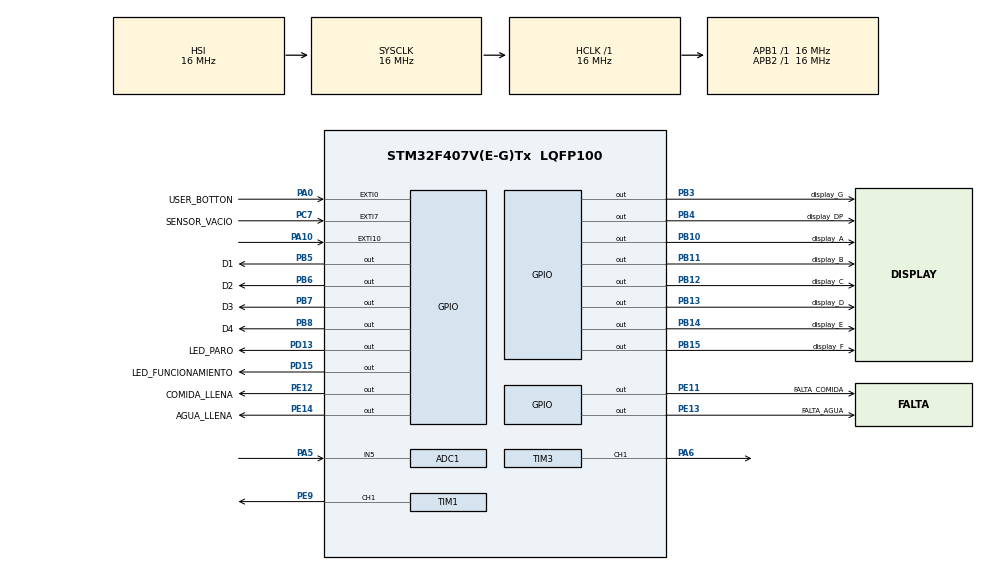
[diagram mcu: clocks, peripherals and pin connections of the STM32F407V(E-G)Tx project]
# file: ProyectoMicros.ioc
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ADC1.Channel-12\#ChannelRegularConversion=ADC_CHANNEL_5
ADC1.NbrOfConversionFlag=1
ADC1.Rank-12\#ChannelRegularConversion=1
ADC1.Resolution=ADC_RESOLUTION_8B
ADC1.SamplingTime-12\#ChannelRegularConversion=ADC_SAMPLETIME_3CYCLES
ADC1.master=1
Mcu.Family=STM32F4
Mcu.Name=STM32F407V(E-G)Tx
Mcu.Package=LQFP100
NVIC.EXTI0_IRQn=true\:0\:0\:false\:false\:true\:true
NVIC.EXTI15_10_IRQn=true\:0\:0\:false\:false\:true\:true
NVIC.EXTI9_5_IRQn=true\:0\:0\:false\:false\:true\:true
NVIC.PriorityGroup=NVIC_PRIORITYGROUP_4
NVIC.TIM2_IRQn=true\:0\:0\:false\:false\:true\:true
NVIC.TIM3_IRQn=true\:0\:0\:false\:false\:true\:true
NVIC.TIM8_TRG_COM_TIM14_IRQn=true\:0\:0\:false\:false\:true\:true
PA0-WKUP.GPIO_Label=USER_BOTTON
PA0-WKUP.Signal=GPXTI0
PA10.Signal=GPXTI10
PA5.Signal=ADCx_IN5
PA6.Signal=S_TIM3_CH1
PB10.GPIO_Label=display_A
PB10.Signal=GPIO_Output
PB11.GPIO_Label=display_B
PB11.Signal=GPIO_Output
PB12.GPIO_Label=display_C
PB12.Signal=GPIO_Output
PB13.GPIO_Label=display_D
PB13.Signal=GPIO_Output
PB14.GPIO_Label=display_E
PB14.Signal=GPIO_Output
PB15.GPIO_Label=display_F
PB15.Signal=GPIO_Output
PB3.GPIO_Label=display_G
PB3.Signal=GPIO_Output
PB4.GPIO_Label=display_DP
PB4.Signal=GPIO_Output
PB5.GPIO_Label=D1
PB5.Signal=GPIO_Output
PB6.GPIO_Label=D2
PB6.Signal=GPIO_Output
PB7.GPIO_Label=D3
PB7.Signal=GPIO_Output
PB8.GPIO_Label=D4
PB8.Signal=GPIO_Output
PC7.GPIO_Label=SENSOR_VACIO
PC7.Signal=GPXTI7
PD13.GPIO_Label=LED_PARO
PD13.Signal=GPIO_Output
PD15.GPIO_Label=LED_FUNCIONAMIENTO
PD15.Signal=GPIO_Output
PE11.GPIO_Label=FALTA_COMIDA
PE11.Signal=GPIO_Output
PE12.GPIO_Label=COMIDA_LLENA
PE12.Signal=GPIO_Output
PE13.GPIO_Label=FALTA_AGUA
PE13.Signal=GPIO_Output
PE14.GPIO_Label=AGUA_LLENA
PE14.Signal=GPIO_Output
PE9.Signal=S_TIM1_CH1
ProjectManager.HeapSize=0x200
ProjectManager.StackSize=0x400
ProjectManager.TargetToolchain=MDK-ARM V5
RCC.AHBFreq_Value=16000000
RCC.APB1Freq_Value=16000000
RCC.APB1TimFreq_Value=16000000
RCC.APB2Freq_Value=16000000
RCC.CortexFreq_Value=16000000
RCC.HSE_VALUE=25000000
RCC.HSI_VALUE=16000000
RCC.LSE_VALUE=32768
RCC.SYSCLKFreq_VALUE=16000000
RCC.VCOOutputFreq_Value=192000000
SH.ADCx_IN5.0=ADC1_IN5,IN5
SH.S_TIM1_CH1.0=TIM1_CH1,PWM Generation1 CH1
SH.S_TIM3_CH1.0=TIM3_CH1,PWM Generation1 CH1
TIM1.Channel-PWM\ Generation1\ CH1=TIM_CHANNEL_1
TIM1.Period=1000
TIM1.Prescaler=320
TIM1.Pulse-PWM\ Generation1\ CH1=500
TIM14.Period=5000
TIM14.Prescaler=16000-1
TIM2.Period=1000-1
TIM2.Prescaler=16000-1
TIM3.Channel-PWM\ Generation1\ CH1=TIM_CHANNEL_1
TIM3.Period=1000
TIM3.Prescaler=320
TIM3.Pulse-PWM\ Generation1\ CH1=500
VP_TIM14_VS_ClockSourceINT.Mode=Enable_Timer
VP_TIM2_VS_ClockSourceINT.Mode=Internal
VP_TIM6_VS_ClockSourceINT.Mode=Enable_Timer
board=custom

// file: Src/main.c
/**
  ******************************************************************************
  * @file           : main.c
  * @brief          : Main program body
  ******************************************************************************
  ** This notice applies to any and all portions of this file
  * that are not between comment pairs USER CODE BEGIN and
  * USER CODE END. Other portions of this file, whether
  * inserted by the user or by software development tools
  * are owned by their respective copyright owners.
  *
  * COPYRIGHT(c) 2019 STMicroelectronics
  *
  * Redistribution and use in source and binary forms, with or without modification,
  * are permitted provided that the following conditions are met:
  *   1. Redistributions of source code must retain the above copyright notice,
  *      this list of conditions and the following disclaimer.
  *   2. Redistributions in binary form must reproduce the above copyright notice,
  *      this list of conditions and the following disclaimer in the documentation
  *      and/or other materials provided with the distribution.
  *   3. Neither the name of STMicroelectronics nor the names of its contributors
  *      may be used to endorse or promote products derived from this software
  *      without specific prior written permission.
  *
  * THIS SOFTWARE IS PROVIDED BY THE COPYRIGHT HOLDERS AND CONTRIBUTORS "AS IS"
  * AND ANY EXPRESS OR IMPLIED WARRANTIES, INCLUDING, BUT NOT LIMITED TO, THE
  * IMPLIED WARRANTIES OF MERCHANTABILITY AND FITNESS FOR A PARTICULAR PURPOSE ARE
  * DISCLAIMED. IN NO EVENT SHALL THE COPYRIGHT HOLDER OR CONTRIBUTORS BE LIABLE
  * FOR ANY DIRECT, INDIRECT, INCIDENTAL, SPECIAL, EXEMPLARY, OR CONSEQUENTIAL
  * DAMAGES (INCLUDING, BUT NOT LIMITED TO, PROCUREMENT OF SUBSTITUTE GOODS OR
  * SERVICES; LOSS OF USE, DATA, OR PROFITS; OR BUSINESS INTERRUPTION) HOWEVER
  * CAUSED AND ON ANY THEORY OF LIABILITY, WHETHER IN CONTRACT, STRICT LIABILITY,
  * OR TORT (INCLUDING NEGLIGENCE OR OTHERWISE) ARISING IN ANY WAY OUT OF THE USE
  * OF THIS SOFTWARE, EVEN IF ADVISED OF THE POSSIBILITY OF SUCH DAMAGE.
  *
  ******************************************************************************
  */
#include "main.h"
#include "stm32f4xx_hal.h"

ADC_HandleTypeDef hadc1;

TIM_HandleTypeDef htim1;
TIM_HandleTypeDef htim2;
TIM_HandleTypeDef htim3;
TIM_HandleTypeDef htim6;
TIM_HandleTypeDef htim14;

/* USER CODE BEGIN PV */
/* Private variables ---------------------------------------------------------*/
volatile _Bool start=0; //Inicializar la maquina ON/OFF
volatile uint32_t ADC_val; //lectura del ADC del sensor de peso
volatile int peso;			//variable global que indica el peso entre 0 y 1000g
volatile _Bool llenar=0; //Bool que indica si se debe llenar comida
volatile _Bool llenar_agua=0; //Bool que indica si se debe llenar agua
volatile _Bool inicializado=0; //Flag que indica que los perifericos se inicializaron
volatile short int nivel=0; //Valor que indica el nivel del agua 0:Vacio (<10%) 1:Llenado a medias (10<nivel<70) 2:Lleno (70>)
volatile short int wd_cntr_agua=0; //contador del watchdog de apertura de comida
volatile short int wd_cntr_comida=0; //contador del watchdog de apertura de agua
volatile _Bool wd_agua=0; //Flag que indica que el watchdog de agua esta activo
volatile _Bool wd_comida=0; //Flag que indica que el watchdog de comida esta activo

//----- 7 SEG DISPLAY ------
uint16_t lables[11]={0xFC00,0x1800,0x6C08,0x3C08,0x9808,0xB408,0xF408,0x1C00,0xFC08,0xBC08,0xE408};

/* USER CODE END PV */

void SystemClock_Config(void);
static void MX_GPIO_Init(void);
static void MX_TIM3_Init(void);
static void MX_ADC1_Init(void);
static void MX_TIM1_Init(void);
static void MX_TIM2_Init(void);
static void MX_TIM6_Init(void);
static void MX_TIM14_Init(void);

void HAL_TIM_MspPostInit(TIM_HandleTypeDef *htim);

/* USER CODE BEGIN PFP */
/* Private function prototypes -----------------------------------------------*/

/* USER CODE END PFP */

/* USER CODE BEGIN 0 */
// Interrupcion de pin 0, 7 y 10.
void HAL_GPIO_EXTI_Callback(uint16_t GPIO_Pin){
		// Interrupcion que inicializa la maquina ON/OFF con el push button
		if (GPIO_Pin==GPIO_PIN_0){
			start = !start;
		}
		// Interrupcion que indica sensor vacio
		//else if (GPIO_Pin==GPIO_PIN_7){
		//	nivel = 5;
		//}
		// Interrupcion que indica sensor lleno
		//else if (GPIO_Pin==GPIO_PIN_10){
		//	nivel = 80;
		//}
}

// Funcion que inicializa perifericos
void inicializar(){
	HAL_GPIO_WritePin(GPIOD, GPIO_PIN_15, GPIO_PIN_SET);   //Enciende el LED de funcionando
	HAL_GPIO_WritePin(GPIOD, GPIO_PIN_13, GPIO_PIN_RESET);   //Apaga el LED de paro
	HAL_ADC_Start(&hadc1); //encender ADC
	HAL_TIM_Base_Start_IT(&htim2); //encender temporizador 2 para el watchdog
	HAL_TIM_PWM_Start(&htim1, TIM_CHANNEL_1); //encender servo 1
	HAL_TIM_PWM_Start(&htim3, TIM_CHANNEL_1); //encender servo 2
	inicializado=1;
}

// Funcion que se asegura el paro del equipo y colocarlo en posicion inicial.
void paro(){
	HAL_GPIO_WritePin(GPIOD, GPIO_PIN_15, GPIO_PIN_RESET); //Apaga LED e indica que no esta encendido el aparato
	HAL_GPIO_WritePin(GPIOD, GPIO_PIN_13, GPIO_PIN_SET);   //Enciende el LED de paro
	HAL_TIM_PWM_Stop(&htim1, TIM_CHANNEL_1); //apagar servo 1
	HAL_TIM_Base_Stop_IT(&htim2); //apagar timer 2
	HAL_TIM_PWM_Stop(&htim3, TIM_CHANNEL_1); //apagar servo 2
	HAL_ADC_Stop(&hadc1);//apagar ADC
	inicializado = 0;
}

// Funcion que realiza el reset por trigger de algun fallo del sistema y lo coloca en posicion inicial.
void error(){
	HAL_GPIO_WritePin(GPIOD, GPIO_PIN_15, GPIO_PIN_RESET); //Apaga LED e indica que no esta encendido el aparato
	HAL_GPIO_WritePin(GPIOD, GPIO_PIN_13, GPIO_PIN_RESET); //Apaga el LED de paro
	// Apaga los indicadores de comida y agua
	HAL_GPIO_WritePin(GPIOE, GPIO_PIN_11, GPIO_PIN_RESET);
	HAL_GPIO_WritePin(GPIOE, GPIO_PIN_12, GPIO_PIN_RESET);
	HAL_GPIO_WritePin(GPIOE, GPIO_PIN_13, GPIO_PIN_RESET);
	HAL_GPIO_WritePin(GPIOE, GPIO_PIN_14, GPIO_PIN_RESET);
	HAL_TIM_PWM_Stop(&htim1, TIM_CHANNEL_1); //apagar servo 1
	HAL_TIM_Base_Stop_IT(&htim2); //apagar timer 2
	HAL_TIM_PWM_Stop(&htim3, TIM_CHANNEL_1); //apagar servo 2
	HAL_ADC_Stop(&hadc1);//apagar ADC
	inicializado = 0;
	wd_cntr_agua=0;
	wd_cntr_comida=0;
	wd_agua=0;
	wd_comida=0;
}

/* Funcion que indica si hay que dejar de llenar la comida
	LED_ROJO peso < 200g Necesita llenar comida
	LED_VERDE peso > 500g El peso es adecuado dejar de llenar
*/
_Bool llenar_comida(int peso_i, _Bool flag_i){
	if (peso_i<200){
		HAL_GPIO_WritePin(GPIOE, GPIO_PIN_11, GPIO_PIN_SET);
		HAL_GPIO_WritePin(GPIOE, GPIO_PIN_12, GPIO_PIN_RESET);
		flag_i=1;
	}
	else if(peso_i>=200 && peso<=500){
		HAL_GPIO_WritePin(GPIOE, GPIO_PIN_11, GPIO_PIN_RESET);
		HAL_GPIO_WritePin(GPIOE, GPIO_PIN_12, GPIO_PIN_RESET);
	}
	else if (peso_i>500){
		HAL_GPIO_WritePin(GPIOE, GPIO_PIN_12, GPIO_PIN_SET);
		HAL_GPIO_WritePin(GPIOE, GPIO_PIN_11, GPIO_PIN_RESET);
		flag_i = 0;
	}
	return flag_i;
}

/* Funcion que indica si hay que llenar el depsoito de agua
	LED_AMARILLO nivel < 10% Necesita llenar agua
	LED_AZUL nivel > 70% El nivel es adecuado dejar de llenar
*/
_Bool comprobar_nivel(short int nivel_i, _Bool flag_i){
	if (<10){
		HAL_GPIO_WritePin(GPIOE, GPIO_PIN_13, GPIO_PIN_SET);
		HAL_GPIO_WritePin(GPIOE, GPIO_PIN_14, GPIO_PIN_RESET);
		flag_i=1;
	}
	else if(nivel_i>=10 && nivel_i<=70){
		HAL_GPIO_WritePin(GPIOE, GPIO_PIN_13, GPIO_PIN_RESET);
		HAL_GPIO_WritePin(GPIOE, GPIO_PIN_14, GPIO_PIN_RESET);
	}
	else if (nivel_i>70){
		HAL_GPIO_WritePin(GPIOE, GPIO_PIN_14, GPIO_PIN_SET);
		HAL_GPIO_WritePin(GPIOE, GPIO_PIN_13, GPIO_PIN_RESET);
		flag_i = 0;
	}
	return flag_i;
}

/* USER CODE END 0 */

int main(void)
{

  /* MCU Configuration----------------------------------------------------------*/

  /* Reset of all peripherals, Initializes the Flash interface and the Systick. */
  HAL_Init();

  /* Configure the system clock */
  SystemClock_Config();

  /* Initialize all configured peripherals */
  MX_GPIO_Init();
  MX_TIM3_Init();
  MX_ADC1_Init();
  MX_TIM1_Init();
  MX_TIM2_Init();
  MX_TIM6_Init();
  MX_TIM14_Init();

  /* Infinite loop */
  while (1)
  {

  /* USER CODE BEGIN 3 */
		while(start){
			if (!inicializado){
				inicializar();
			}
			HAL_ADC_Start(&hadc1); //Inicializar ADC lectura de peso en envase de comida
			if(HAL_ADC_PollForConversion(&hadc1,500)==HAL_OK){ //Lectura de valores
				ADC_val=HAL_ADC_GetValue(&hadc1);
				peso = ADC_val*(1000/255); // Escalar el valor al rango de lectura de 0-1000g
				llenar=llenar_comida(peso,llenar);
				HAL_ADC_Stop(&hadc1);
			}
			if (llenar){ // Si el peso es menor a 200g abrir valvula de comida
				wd_comida = 1;
				__HAL_TIM_SET_COMPARE(&htim3,TIM_CHANNEL_1,100);
			}
			else if (!llenar){ // Si el peso es mayor a 500g cerrar valvula de comida
				__HAL_TIM_SET_COMPARE(&htim3,TIM_CHANNEL_1,50);
				wd_comida = 0;
				wd_cntr_comida = 0;
			}
			llenar_agua=comprobar_nivel(nivel,llenar_agua);
			if (llenar_agua){ // Si el nivel es menor al 10% abrir valvula de agua
				wd_agua = 1;
				__HAL_TIM_SET_COMPARE(&htim1,TIM_CHANNEL_1,100);
			}
			else if (!llenar_agua){ // Si el nivel es mayor al 70% cerrar valvula de agua
				__HAL_TIM_SET_COMPARE(&htim1,TIM_CHANNEL_1,50);
				wd_agua = 0;
				wd_cntr_agua = 0;
			}
			if (wd_cntr_agua > 10 || wd_cntr_comida > 10){ //condicion de paro de emergencia por error en el sistema trigger por watchdog
				start=0;
				error();
			}
		}
		if (inicializado){
			paro();
		}
  }
  /* USER CODE END 3 */

}

void SystemClock_Config(void)
{

  RCC_OscInitTypeDef RCC_OscInitStruct;
  RCC_ClkInitTypeDef RCC_ClkInitStruct;

    /**Configure the main internal regulator output voltage
    */
  __HAL_RCC_PWR_CLK_ENABLE();

  __HAL_PWR_VOLTAGESCALING_CONFIG(PWR_REGULATOR_VOLTAGE_SCALE1);

    /**Initializes the CPU, AHB and APB busses clocks
    */
  RCC_OscInitStruct.OscillatorType = RCC_OSCILLATORTYPE_HSI;
  RCC_OscInitStruct.HSIState = RCC_HSI_ON;
  RCC_OscInitStruct.HSICalibrationValue = 16;
  RCC_OscInitStruct.PLL.PLLState = RCC_PLL_NONE;
  if (HAL_RCC_OscConfig(&RCC_OscInitStruct) != HAL_OK)
  {
    _Error_Handler(__FILE__, __LINE__);
  }

    /**Initializes the CPU, AHB and APB busses clocks
    */
  RCC_ClkInitStruct.ClockType = RCC_CLOCKTYPE_HCLK|RCC_CLOCKTYPE_SYSCLK
                              |RCC_CLOCKTYPE_PCLK1|RCC_CLOCKTYPE_PCLK2;
  RCC_ClkInitStruct.SYSCLKSource = RCC_SYSCLKSOURCE_HSI;
  RCC_ClkInitStruct.AHBCLKDivider = RCC_SYSCLK_DIV1;
  RCC_ClkInitStruct.APB1CLKDivider = RCC_HCLK_DIV1;
  RCC_ClkInitStruct.APB2CLKDivider = RCC_HCLK_DIV1;

  if (HAL_RCC_ClockConfig(&RCC_ClkInitStruct, FLASH_LATENCY_0) != HAL_OK)
  {
    _Error_Handler(__FILE__, __LINE__);
  }

    /**Configure the Systick interrupt time
    */
  HAL_SYSTICK_Config(HAL_RCC_GetHCLKFreq()/1000);

    /**Configure the Systick
    */
  HAL_SYSTICK_CLKSourceConfig(SYSTICK_CLKSOURCE_HCLK);

  /* SysTick_IRQn interrupt configuration */
  HAL_NVIC_SetPriority(SysTick_IRQn, 0, 0);
}

/* ADC1 init function */
static void MX_ADC1_Init(void)
{

  ADC_ChannelConfTypeDef sConfig;

    /**Configure the global features of the ADC (Clock, Resolution, Data Alignment and number of conversion)
    */
  hadc1.Instance = ADC1;
  hadc1.Init.ClockPrescaler = ADC_CLOCK_SYNC_PCLK_DIV2;
  hadc1.Init.Resolution = ADC_RESOLUTION_8B;
  hadc1.Init.ScanConvMode = DISABLE;
  hadc1.Init.ContinuousConvMode = DISABLE;
  hadc1.Init.DiscontinuousConvMode = DISABLE;
  hadc1.Init.ExternalTrigConvEdge = ADC_EXTERNALTRIGCONVEDGE_NONE;
  hadc1.Init.ExternalTrigConv = ADC_SOFTWARE_START;
  hadc1.Init.DataAlign = ADC_DATAALIGN_RIGHT;
  hadc1.Init.NbrOfConversion = 1;
  hadc1.Init.DMAContinuousRequests = DISABLE;
  hadc1.Init.EOCSelection = ADC_EOC_SINGLE_CONV;
  if (HAL_ADC_Init(&hadc1) != HAL_OK)
  {
    _Error_Handler(__FILE__, __LINE__);
  }

    /**Configure for the selected ADC regular channel its corresponding rank in the sequencer and its sample time.
    */
  sConfig.Channel = ADC_CHANNEL_5;
  sConfig.Rank = 1;
  sConfig.SamplingTime = ADC_SAMPLETIME_3CYCLES;
  if (HAL_ADC_ConfigChannel(&hadc1, &sConfig) != HAL_OK)
  {
    _Error_Handler(__FILE__, __LINE__);
  }

}

/* TIM1 init function */
static void MX_TIM1_Init(void)
{

  TIM_MasterConfigTypeDef sMasterConfig;
  TIM_OC_InitTypeDef sConfigOC;
  TIM_BreakDeadTimeConfigTypeDef sBreakDeadTimeConfig;

  htim1.Instance = TIM1;
  htim1.Init.Prescaler = 320;
  htim1.Init.CounterMode = TIM_COUNTERMODE_UP;
  htim1.Init.Period = 1000;
  htim1.Init.ClockDivision = TIM_CLOCKDIVISION_DIV1;
  htim1.Init.RepetitionCounter = 0;
  if (HAL_TIM_PWM_Init(&htim1) != HAL_OK)
  {
    _Error_Handler(__FILE__, __LINE__);
  }

  sMasterConfig.MasterOutputTrigger = TIM_TRGO_RESET;
  sMasterConfig.MasterSlaveMode = TIM_MASTERSLAVEMODE_DISABLE;
  if (HAL_TIMEx_MasterConfigSynchronization(&htim1, &sMasterConfig) != HAL_OK)
  {
    _Error_Handler(__FILE__, __LINE__);
  }

  sConfigOC.OCMode = TIM_OCMODE_PWM1;
  sConfigOC.Pulse = 500;
  sConfigOC.OCPolarity = TIM_OCPOLARITY_HIGH;
  sConfigOC.OCNPolarity = TIM_OCNPOLARITY_HIGH;
  sConfigOC.OCFastMode = TIM_OCFAST_DISABLE;
  sConfigOC.OCIdleState = TIM_OCIDLESTATE_RESET;
  sConfigOC.OCNIdleState = TIM_OCNIDLESTATE_RESET;
  if (HAL_TIM_PWM_ConfigChannel(&htim1, &sConfigOC, TIM_CHANNEL_1) != HAL_OK)
  {
    _Error_Handler(__FILE__, __LINE__);
  }

  sBreakDeadTimeConfig.OffStateRunMode = TIM_OSSR_DISABLE;
  sBreakDeadTimeConfig.OffStateIDLEMode = TIM_OSSI_DISABLE;
  sBreakDeadTimeConfig.LockLevel = TIM_LOCKLEVEL_OFF;
  sBreakDeadTimeConfig.DeadTime = 0;
  sBreakDeadTimeConfig.BreakState = TIM_BREAK_DISABLE;
  sBreakDeadTimeConfig.BreakPolarity = TIM_BREAKPOLARITY_HIGH;
  sBreakDeadTimeConfig.AutomaticOutput = TIM_AUTOMATICOUTPUT_DISABLE;
  if (HAL_TIMEx_ConfigBreakDeadTime(&htim1, &sBreakDeadTimeConfig) != HAL_OK)
  {
    _Error_Handler(__FILE__, __LINE__);
  }

  HAL_TIM_MspPostInit(&htim1);

}

/* TIM2 init function */
static void MX_TIM2_Init(void)
{

  TIM_ClockConfigTypeDef sClockSourceConfig;
  TIM_MasterConfigTypeDef sMasterConfig;

  htim2.Instance = TIM2;
  htim2.Init.Prescaler = 16000-1;
  htim2.Init.CounterMode = TIM_COUNTERMODE_UP;
  htim2.Init.Period = 1000-1;
  htim2.Init.ClockDivision = TIM_CLOCKDIVISION_DIV1;
  if (HAL_TIM_Base_Init(&htim2) != HAL_OK)
  {
    _Error_Handler(__FILE__, __LINE__);
  }

  sClockSourceConfig.ClockSource = TIM_CLOCKSOURCE_INTERNAL;
  if (HAL_TIM_ConfigClockSource(&htim2, &sClockSourceConfig) != HAL_OK)
  {
    _Error_Handler(__FILE__, __LINE__);
  }

  sMasterConfig.MasterOutputTrigger = TIM_TRGO_RESET;
  sMasterConfig.MasterSlaveMode = TIM_MASTERSLAVEMODE_DISABLE;
  if (HAL_TIMEx_MasterConfigSynchronization(&htim2, &sMasterConfig) != HAL_OK)
  {
    _Error_Handler(__FILE__, __LINE__);
  }

}

/* TIM3 init function */
static void MX_TIM3_Init(void)
{

  TIM_MasterConfigTypeDef sMasterConfig;
  TIM_OC_InitTypeDef sConfigOC;

  htim3.Instance = TIM3;
  htim3.Init.Prescaler = 320;
  htim3.Init.CounterMode = TIM_COUNTERMODE_UP;
  htim3.Init.Period = 1000;
  htim3.Init.ClockDivision = TIM_CLOCKDIVISION_DIV1;
  if (HAL_TIM_PWM_Init(&htim3) != HAL_OK)
  {
    _Error_Handler(__FILE__, __LINE__);
  }

  sMasterConfig.MasterOutputTrigger = TIM_TRGO_RESET;
  sMasterConfig.MasterSlaveMode = TIM_MASTERSLAVEMODE_DISABLE;
  if (HAL_TIMEx_MasterConfigSynchronization(&htim3, &sMasterConfig) != HAL_OK)
  {
    _Error_Handler(__FILE__, __LINE__);
  }

  sConfigOC.OCMode = TIM_OCMODE_PWM1;
  sConfigOC.Pulse = 500;
  sConfigOC.OCPolarity = TIM_OCPOLARITY_HIGH;
  sConfigOC.OCFastMode = TIM_OCFAST_DISABLE;
  if (HAL_TIM_PWM_ConfigChannel(&htim3, &sConfigOC, TIM_CHANNEL_1) != HAL_OK)
  {
    _Error_Handler(__FILE__, __LINE__);
  }

  HAL_TIM_MspPostInit(&htim3);

}

/* TIM6 init function */
static void MX_TIM6_Init(void)
{

  TIM_MasterConfigTypeDef sMasterConfig;

  htim6.Instance = TIM6;
  htim6.Init.Prescaler = 0;
  htim6.Init.CounterMode = TIM_COUNTERMODE_UP;
  htim6.Init.Period = 0;
  if (HAL_TIM_Base_Init(&htim6) != HAL_OK)
  {
    _Error_Handler(__FILE__, __LINE__);
  }

  sMasterConfig.MasterOutputTrigger = TIM_TRGO_RESET;
  sMasterConfig.MasterSlaveMode = TIM_MASTERSLAVEMODE_DISABLE;
  if (HAL_TIMEx_MasterConfigSynchronization(&htim6, &sMasterConfig) != HAL_OK)
  {
    _Error_Handler(__FILE__, __LINE__);
  }

}

/* TIM14 init function */
static void MX_TIM14_Init(void)
{

  htim14.Instance = TIM14;
  htim14.Init.Prescaler = 16000-1;
  htim14.Init.CounterMode = TIM_COUNTERMODE_UP;
  htim14.Init.Period = 5000;
  htim14.Init.ClockDivision = TIM_CLOCKDIVISION_DIV1;
  if (HAL_TIM_Base_Init(&htim14) != HAL_OK)
  {
    _Error_Handler(__FILE__, __LINE__);
  }

}

/** Configure pins as
        * Analog
        * Input
        * Output
        * EVENT_OUT
        * EXTI
*/
static void MX_GPIO_Init(void)
{

  GPIO_InitTypeDef GPIO_InitStruct;

  /* GPIO Ports Clock Enable */
  __HAL_RCC_GPIOA_CLK_ENABLE();
  __HAL_RCC_GPIOE_CLK_ENABLE();
  __HAL_RCC_GPIOB_CLK_ENABLE();
  __HAL_RCC_GPIOD_CLK_ENABLE();
  __HAL_RCC_GPIOC_CLK_ENABLE();

  /*Configure GPIO pin Output Level */
  HAL_GPIO_WritePin(GPIOE, FALTA_COMIDA_Pin|COMIDA_LLENA_Pin|FALTA_AGUA_Pin|AGUA_LLENA_Pin, GPIO_PIN_RESET);

  /*Configure GPIO pin Output Level */
  HAL_GPIO_WritePin(GPIOB, display_A_Pin|display_B_Pin|display_C_Pin|display_D_Pin
                          |display_E_Pin|display_F_Pin|display_G_Pin|display_DP_Pin
                          |D1_Pin|D2_Pin|D3_Pin|D4_Pin, GPIO_PIN_RESET);

  /*Configure GPIO pin Output Level */
  HAL_GPIO_WritePin(GPIOD, LED_PARO_Pin|LED_FUNCIONAMIENTO_Pin, GPIO_PIN_RESET);

  /*Configure GPIO pins : USER_BOTTON_Pin PA10 */
  GPIO_InitStruct.Pin = USER_BOTTON_Pin|GPIO_PIN_10;
  GPIO_InitStruct.Mode = GPIO_MODE_IT_RISING;
  GPIO_InitStruct.Pull = GPIO_NOPULL;
  HAL_GPIO_Init(GPIOA, &GPIO_InitStruct);

  /*Configure GPIO pins : FALTA_COMIDA_Pin COMIDA_LLENA_Pin FALTA_AGUA_Pin AGUA_LLENA_Pin */
  GPIO_InitStruct.Pin = FALTA_COMIDA_Pin|COMIDA_LLENA_Pin|FALTA_AGUA_Pin|AGUA_LLENA_Pin;
  GPIO_InitStruct.Mode = GPIO_MODE_OUTPUT_PP;
  GPIO_InitStruct.Pull = GPIO_NOPULL;
  GPIO_InitStruct.Speed = GPIO_SPEED_FREQ_LOW;
  HAL_GPIO_Init(GPIOE, &GPIO_InitStruct);

  /*Configure GPIO pins : display_A_Pin display_B_Pin display_C_Pin display_D_Pin
                           display_E_Pin display_F_Pin display_G_Pin display_DP_Pin
                           D1_Pin D2_Pin D3_Pin D4_Pin */
  GPIO_InitStruct.Pin = display_A_Pin|display_B_Pin|display_C_Pin|display_D_Pin
                          |display_E_Pin|display_F_Pin|display_G_Pin|display_DP_Pin
                          |D1_Pin|D2_Pin|D3_Pin|D4_Pin;
  GPIO_InitStruct.Mode = GPIO_MODE_OUTPUT_PP;
  GPIO_InitStruct.Pull = GPIO_NOPULL;
  GPIO_InitStruct.Speed = GPIO_SPEED_FREQ_LOW;
  HAL_GPIO_Init(GPIOB, &GPIO_InitStruct);

  /*Configure GPIO pins : LED_PARO_Pin LED_FUNCIONAMIENTO_Pin */
  GPIO_InitStruct.Pin = LED_PARO_Pin|LED_FUNCIONAMIENTO_Pin;
  GPIO_InitStruct.Mode = GPIO_MODE_OUTPUT_PP;
  GPIO_InitStruct.Pull = GPIO_NOPULL;
  GPIO_InitStruct.Speed = GPIO_SPEED_FREQ_LOW;
  HAL_GPIO_Init(GPIOD, &GPIO_InitStruct);

  /*Configure GPIO pin : SENSOR_VACIO_Pin */
  GPIO_InitStruct.Pin = SENSOR_VACIO_Pin;
  GPIO_InitStruct.Mode = GPIO_MODE_IT_RISING;
  GPIO_InitStruct.Pull = GPIO_NOPULL;
  HAL_GPIO_Init(SENSOR_VACIO_GPIO_Port, &GPIO_InitStruct);

  /* EXTI interrupt init*/
  HAL_NVIC_SetPriority(EXTI0_IRQn, 0, 0);
  HAL_NVIC_EnableIRQ(EXTI0_IRQn);

  HAL_NVIC_SetPriority(EXTI9_5_IRQn, 0, 0);
  HAL_NVIC_EnableIRQ(EXTI9_5_IRQn);

  HAL_NVIC_SetPriority(EXTI15_10_IRQn, 0, 0);
  HAL_NVIC_EnableIRQ(EXTI15_10_IRQn);

}

/* USER CODE BEGIN 4 */
/**
  * @brief  Period elapsed callback in non blocking mode
  * @param  htim: TIM handle
  * @retval None
  */
void HAL_TIM_PeriodElapsedCallback(TIM_HandleTypeDef *htim)
{
    if (htim->Instance == htim2.Instance)
    {
				//Despliega el watchdog de comida en el display a 7 segmentos
				GPIOB->ODR=lables[wd_cntr_comida];
        /* Aumenta 1 al watchdog */
        if (wd_comida){
					wd_cntr_comida++;
				}
				else if (wd_agua){
					wd_cntr_agua++;
				}
				// Determina nivel
				if (HAL_GPIO_ReadPin(GPIOA,GPIO_PIN_10)){
					nivel = 80;
				}
				else if(HAL_GPIO_ReadPin(GPIOC,GPIO_PIN_7)){
					nivel = 5;
				}
    }
}

/* USER CODE END 4 */

void _Error_Handler(char *file, int line)
{
  while(1)
  {
  }
}

/************************ (C) COPYRIGHT STMicroelectronics *****END OF FILE****/
